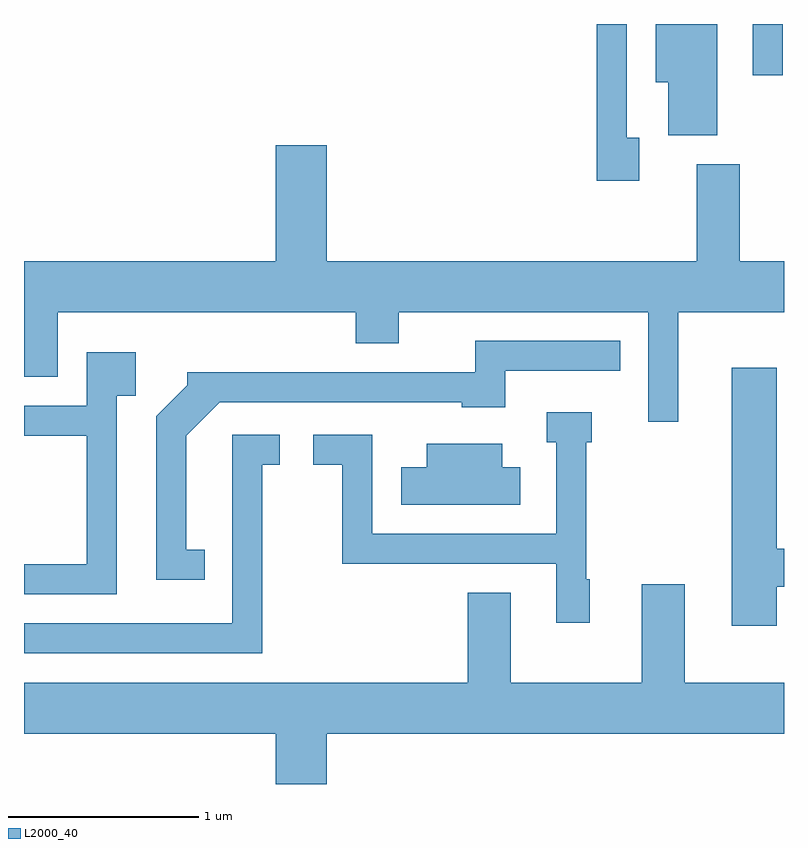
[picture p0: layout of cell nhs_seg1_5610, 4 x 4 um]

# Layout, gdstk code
import gdstk
lib = gdstk.Library(unit=1e-6, precision=1e-09)
def R(c, l, rs):  # rectangles x0, y0, x1, y1
    for r in rs: c.add(gdstk.rectangle(r[:2], r[2:], *l))
def P(c, l, *ps):  # polygons
    for p in ps: c.add(gdstk.Polygon(p, *l))
L2000_40 = (2000, 40)

nhs_seg1_5610 = lib.new_cell('nhs_seg1_5610')
R(nhs_seg1_5610, L2000_40, [(357.446,947.443,357.604,947.712)])
P(nhs_seg1_5610, L2000_40, [(357.259,947.712),(356.936,947.712),(356.936,947.406),(357.001,947.406),(357.001,947.126),(357.259,947.126)],
  [(356.849,947.114),(356.784,947.114),(356.784,947.712),(356.626,947.712),(356.626,946.886),(356.849,946.886)],
  [(357.054,946.196),(357.611,946.196),(357.611,946.464),(357.379,946.464),(357.379,946.974),(357.151,946.974),(357.151,946.464),(355.204,946.464),(355.204,947.074),(354.936,947.074),(354.936,946.464),(353.611,946.464),(353.611,945.856),(353.789,945.856),(353.789,946.196),(355.356,946.196),(355.356,946.031),(355.584,946.031),(355.584,946.196),(356.896,946.196),(356.896,945.618),(357.054,945.618)],
  [(354.563,944.944),(354.464,944.944),(354.464,945.544),(354.642,945.721),(355.916,945.721),(355.916,945.696),(356.144,945.696),(356.144,945.886),(356.748,945.886),(356.748,946.044),(355.986,946.044),(355.986,945.879),(354.471,945.879),(354.471,945.812),(354.306,945.647),(354.306,944.786),(354.563,944.786)],
  [(354.099,945.756),(354.199,945.756),(354.199,945.984),(353.941,945.984),(353.941,945.704),(353.611,945.704),(353.611,945.546),(353.941,945.546),(353.941,944.869),(353.611,944.869),(353.611,944.711),(354.099,944.711)],
  [(357.574,944.751),(357.611,944.751),(357.611,944.949),(357.574,944.949),(357.574,945.904),(357.336,945.904),(357.336,944.546),(357.574,944.546)],
  [(356.589,944.789),(356.569,944.789),(356.569,945.511),(356.599,945.511),(356.599,945.669),(356.363,945.669),(356.363,945.511),(356.411,945.511),(356.411,945.029),(355.444,945.029),(355.444,945.549),(355.133,945.549),(355.133,945.391),(355.286,945.391),(355.286,944.871),(356.411,944.871),(356.411,944.561),(356.589,944.561)],
  [(354.864,945.391),(354.958,945.391),(354.958,945.549),(354.706,945.549),(354.706,944.559),(353.611,944.559),(353.611,944.401),(354.864,944.401)],
  [(356.224,945.379),(356.129,945.379),(356.129,945.504),(355.731,945.504),(355.731,945.379),(355.596,945.379),(355.596,945.181),(356.224,945.181)],
  [(355.204,943.976),(357.611,943.976),(357.611,944.244),(357.089,944.244),(357.089,944.764),(356.861,944.764),(356.861,944.244),(356.174,944.244),(356.174,944.719),(355.946,944.719),(355.946,944.244),(353.611,944.244),(353.611,943.976),(354.936,943.976),(354.936,943.712),(355.204,943.712)])

lib.write_gds('nhs_seg1_5610.gds')
